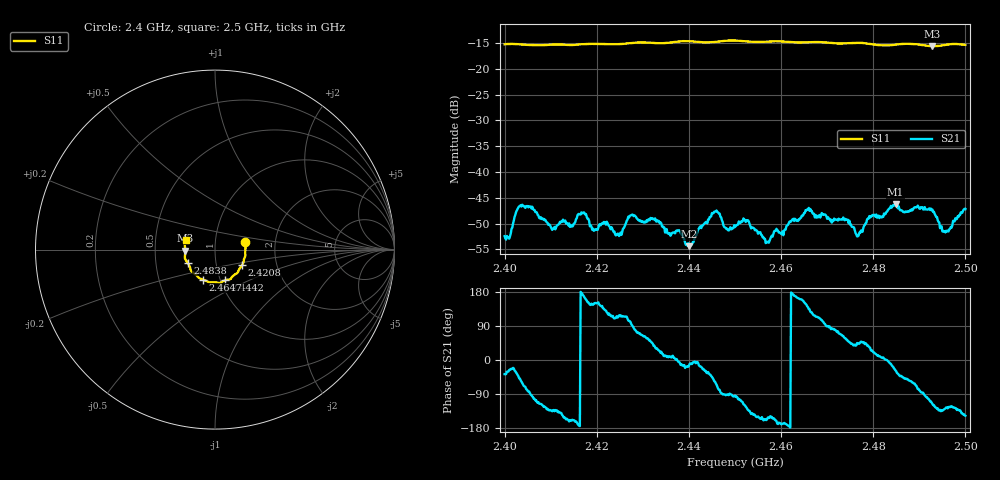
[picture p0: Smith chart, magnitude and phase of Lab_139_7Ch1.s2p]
# Hz S RI R 50
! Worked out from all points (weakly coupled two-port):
!   601 points, 2.4 GHz to 2.5 GHz, reference 50 ohm
!   highest |S21| = -46.27 dB at 2.4848 GHz (marker M1); lowest = -54.4 dB at 2.44 GHz (marker M2)
!   lowest |S11| = -15.6 dB at 2.4928 GHz (marker M3), VSWR 1.40, Z = 35.8 - j0.371 ohm
!   |S11| at or under -10 dB: start of sweep to end of sweep
!   S12 and S22 are empty: the file has one direction only
!   S11 on the Smith chart (normalised r, x): 2.4 GHz: 1.40, +0.12; 2.4208 GHz: 1.33, -0.24; 2.4442 GHz: 1.05, -0.37; 2.4647 GHz: 0.83, -0.29; 2.4838 GHz: 0.73, -0.11; 2.5 GHz: 0.72, +0.08
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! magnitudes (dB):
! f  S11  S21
! 2.4 GHz  -15.2  -52.5
! 2.4035 GHz  -15.3  -46.4
! 2.4107 GHz  -15.3  -51.0
! 2.4167 GHz  -15.2  -47.8
! 2.4208 GHz  -15.2  -50.4
! 2.4245 GHz  -15.2  -52.0
! 2.4273 GHz  -15.0  -48.4
! 2.4333 GHz  -15.0  -49.6
! 2.44 GHz  -14.6  -54.4
! 2.4442 GHz  -14.9  -49.2
! 2.45 GHz  -14.5  -50.7
! 2.4523 GHz  -14.7  -49.7
! 2.4572 GHz  -14.7  -53.5
! 2.4647 GHz  -14.9  -48.5
! 2.4667 GHz  -14.8  -47.6
! 2.4767 GHz  -15.0  -52.5
! 2.4833 GHz  -15.5  -47.3
! 2.4838 GHz  -15.4  -46.6
! 2.4848 GHz  -15.3  -46.3
! 2.4928 GHz  -15.6  -47.3
! 2.4958 GHz  -15.3  -51.4
! 2.5 GHz  -15.4  -47.2
